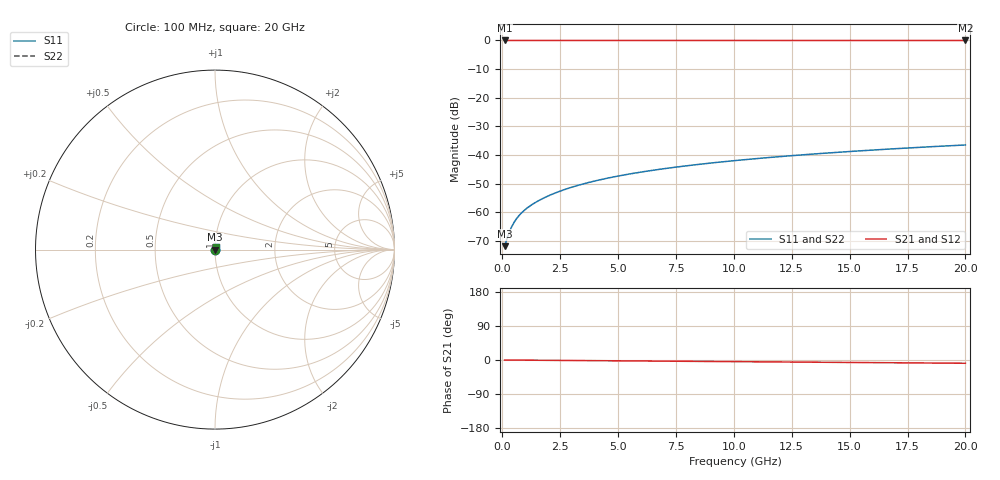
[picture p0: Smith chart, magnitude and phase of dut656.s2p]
! Touchstone file exported from HFSS 2026.1.0
!  File:  C:/ffzhzh/LocalFiles/Ansys_Project_Files/temp_train_TSV_656_1783026776_55676.aedt
!  Generated:  05:15:17 AM Jul  3, 2026
!  Design:  TSV
!  Project:  temp_train_TSV_656_1783026776_55676
! Variables:
!  h_bsmrdl = 2um
!  h_ox = 20um
!  h_rdl = 5um
!  h_sub = 89.08um
!  h_tmrdl = 5um
!  h_tsv = 89.08um
!  h_via = 3um
!  l_bsmrdl = 300um
!  l_sub = 414.8um
!  l_tmrdl = 200um
!  m_sub = 200um
!  pitch = 34.07um
!  r_tsv = 7.4um
!  s_tmrdl = 10um
!  w_bsmrdl = 18um
!  w_sub = 500um
!  w_tmrdl = 12um
!  x_tsv_center1 = 206um
!  x_tsv_center2 = 524um
!  x_tsv_center3 = 736um
!  x_tsv_center4 = 1054um
!  x_tsv_center5 = 1266um
!  x_tsv_center6 = 1584um
# GHz S MA R 50.000000
! Terminal data exported
! Port[1] = TSV1_1_T1
! Port[2] = TSV1_1_T2
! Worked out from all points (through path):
!   200 points, 100 MHz to 20 GHz, reference 50 ohm
!   highest |S21| = 0.00 dB at 100 MHz (marker M1); lowest = 0.0 dB at 20 GHz (marker M2)
!   group delay of S21, straight-line fit = 1.19 ps
!   lowest |S11| = -71.8 dB at 100 MHz (marker M3), VSWR 1.00, Z = 50 + j0.0126 ohm
!   |S11| at or under -10 dB: start of sweep to end of sweep
!   |S22| runs from -71.8 to -36.5 dB; largest |S21 - S12| = 3.8e-15
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0.1  0.0002585 29.2  0.9998 -0.0  0.9998 -0.0  0.0002585 29.2
! Gamma 0 0 0 0
! Port Impedance 50 0 50 0
0.2  0.0003453 46.2  0.9998 -0.1  0.9998 -0.1  0.0003453 46.2
0.3  0.0004497 54.8  0.9997 -0.1  0.9997 -0.1  0.0004497 54.8
0.4  0.0005573 59.4  0.9997 -0.2  0.9997 -0.2  0.0005573 59.4
0.5  0.0006629 62.0  0.9997 -0.2  0.9997 -0.2  0.0006629 62.0
0.6  0.0007645 63.7  0.9997 -0.3  0.9997 -0.3  0.0007645 63.7
0.7  0.0008619 64.8  0.9996 -0.3  0.9996 -0.3  0.0008619 64.8
0.8  0.0009554 65.7  0.9996 -0.4  0.9996 -0.4  0.0009554 65.7
1  0.001134 67.1  0.9996 -0.4  0.9996 -0.4  0.001134 67.1
1.4  0.00147 69.4  0.9995 -0.6  0.9995 -0.6  0.00147 69.4
1.7  0.001714 70.7  0.9994 -0.8  0.9994 -0.8  0.001714 70.7
2  0.001957 71.8  0.9994 -0.9  0.9994 -0.9  0.001957 71.8
2.7  0.002519 73.6  0.9993 -1.2  0.9993 -1.2  0.002519 73.6
3.5  0.003155 74.8  0.9992 -1.5  0.9992 -1.5  0.003155 74.8
4.2  0.003702 75.4  0.9992 -1.8  0.9992 -1.8  0.003702 75.4
5  0.004317 75.9  0.9991 -2.2  0.9991 -2.2  0.004317 75.9
6.8  0.005667 76.4  0.9989 -3.0  0.9989 -3.0  0.005667 76.4
8.3  0.006768 76.5  0.9988 -3.6  0.9988 -3.6  0.006768 76.5
10.1  0.008073 76.5  0.9987 -4.4  0.9987 -4.4  0.008073 76.5
13.4  0.01044 76.2  0.9985 -5.8  0.9985 -5.8  0.01044 76.2
16.7  0.01276 75.4  0.9983 -7.2  0.9983 -7.2  0.01276 75.4
20  0.01505 74.5  0.9981 -8.6  0.9981 -8.6  0.01505 74.5
